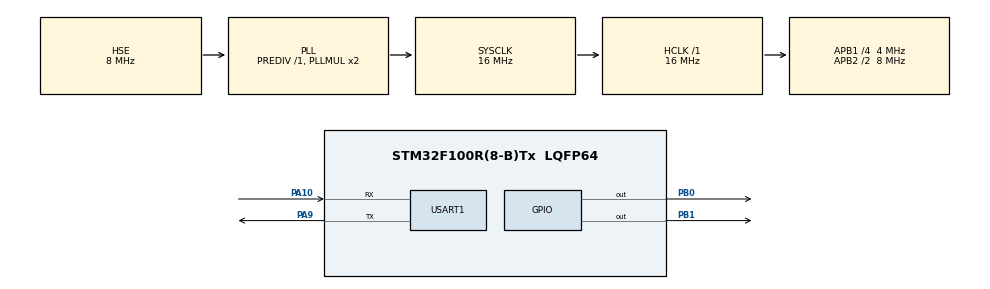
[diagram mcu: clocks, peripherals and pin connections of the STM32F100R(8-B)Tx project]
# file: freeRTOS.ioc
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FREERTOS.Tasks01=defaultTask,0,128,StartDefaultTask,Default
FREERTOS.configTOTAL_HEAP_SIZE=3072
FREERTOS.configUSE_RECURSIVE_MUTEXES=1
Mcu.Family=STM32F1
Mcu.Name=STM32F100R(8-B)Tx
Mcu.Package=LQFP64
NVIC.PriorityGroup=NVIC_PRIORITYGROUP_4
PA10.Mode=Asynchronous
PA10.Signal=USART1_RX
PA9.Mode=Asynchronous
PA9.Signal=USART1_TX
PB0.GPIO_ModeDefaultOutputPP=GPIO_MODE_OUTPUT_PP
PB0.GPIO_Speed=GPIO_SPEED_FREQ_HIGH
PB0.Signal=GPIO_Output
PB1.GPIO_ModeDefaultOutputPP=GPIO_MODE_OUTPUT_PP
PB1.GPIO_Speed=GPIO_SPEED_FREQ_HIGH
PB1.Signal=GPIO_Output
PD0-OSC_IN.Mode=HSE-External-Oscillator
PD0-OSC_IN.Signal=RCC_OSC_IN
PD1-OSC_OUT.Mode=HSE-External-Oscillator
PD1-OSC_OUT.Signal=RCC_OSC_OUT
ProjectManager.HeapSize=0x200
ProjectManager.StackSize=0x400
ProjectManager.TargetToolchain=EWARM
RCC.AHBFreq_Value=16000000
RCC.APB1CLKDivider=RCC_HCLK_DIV4
RCC.APB1Freq_Value=4000000
RCC.APB1TimFreq_Value=8000000
RCC.APB2CLKDivider=RCC_HCLK_DIV2
RCC.APB2Freq_Value=8000000
RCC.APB2TimFreq_Value=16000000
RCC.HCLKFreq_Value=16000000
RCC.PLLSource=RCC_PLLSOURCE_HSE
RCC.SYSCLKFreq_VALUE=16000000
RCC.SYSCLKSource=RCC_SYSCLKSOURCE_PLLCLK
VP_FREERTOS_VS_ENABLE.Mode=Enabled
VP_SYS_VS_ND.Mode=No_Debug
board=freeRTOS

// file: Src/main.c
/**
  ******************************************************************************
  * File Name          : main.c
  * Description        : Main program body
  ******************************************************************************
  *
  * COPYRIGHT(c) 2016 STMicroelectronics
  *
  * Redistribution and use in source and binary forms, with or without modification,
  * are permitted provided that the following conditions are met:
  *   1. Redistributions of source code must retain the above copyright notice,
  *      this list of conditions and the following disclaimer.
  *   2. Redistributions in binary form must reproduce the above copyright notice,
  *      this list of conditions and the following disclaimer in the documentation
  *      and/or other materials provided with the distribution.
  *   3. Neither the name of STMicroelectronics nor the names of its contributors
  *      may be used to endorse or promote products derived from this software
  *      without specific prior written permission.
  *
  * THIS SOFTWARE IS PROVIDED BY THE COPYRIGHT HOLDERS AND CONTRIBUTORS "AS IS"
  * AND ANY EXPRESS OR IMPLIED WARRANTIES, INCLUDING, BUT NOT LIMITED TO, THE
  * IMPLIED WARRANTIES OF MERCHANTABILITY AND FITNESS FOR A PARTICULAR PURPOSE ARE
  * DISCLAIMED. IN NO EVENT SHALL THE COPYRIGHT HOLDER OR CONTRIBUTORS BE LIABLE
  * FOR ANY DIRECT, INDIRECT, INCIDENTAL, SPECIAL, EXEMPLARY, OR CONSEQUENTIAL
  * DAMAGES (INCLUDING, BUT NOT LIMITED TO, PROCUREMENT OF SUBSTITUTE GOODS OR
  * SERVICES; LOSS OF USE, DATA, OR PROFITS; OR BUSINESS INTERRUPTION) HOWEVER
  * CAUSED AND ON ANY THEORY OF LIABILITY, WHETHER IN CONTRACT, STRICT LIABILITY,
  * OR TORT (INCLUDING NEGLIGENCE OR OTHERWISE) ARISING IN ANY WAY OUT OF THE USE
  * OF THIS SOFTWARE, EVEN IF ADVISED OF THE POSSIBILITY OF SUCH DAMAGE.
  *
  ******************************************************************************
  */
#include "stm32f1xx_hal.h"
#include "cmsis_os.h"

UART_HandleTypeDef huart1;

osThreadId defaultTaskHandle;

//uint8_t Uart1_RxFlag;

//uint8_t Rx_data[5] = {0xAA, 0x55, 0x09, 0x1C, 0xEE};
uint8_t Rx_Buffer[5];
//uint8_t Transfer_cplt, Rx_indx;

/* USER CODE BEGIN PV */
/* Private variables ---------------------------------------------------------*/

/* USER CODE END PV */

void SystemClock_Config(void);
void Error_Handler(void);
static void MX_GPIO_Init(void);
static void MX_USART1_UART_Init(void);
void StartDefaultTask(void const * argument);

/* USER CODE BEGIN PFP */
/* Private function prototypes -----------------------------------------------*/
/*void HAL_UART_RxCpltCallback(UART_HandleTypeDef *huart)
{
  if(huart->Instance == USART1)
  {
    HAL_GPIO_TogglePin(GPIOB,GPIO_PIN_0);
    Uart1_RxFlag = 1;
  }
}*/

/* USER CODE END PFP */

int main(void)
{

  /* MCU Configuration----------------------------------------------------------*/

  /* Reset of all peripherals, Initializes the Flash interface and the Systick. */
  HAL_Init();

  /* Configure the system clock */
  SystemClock_Config();

  /* Initialize all configured peripherals */
  MX_GPIO_Init();
  MX_USART1_UART_Init();

  /* USER CODE BEGIN 2 */
  //HAL_UART_Receive_IT(&huart1, Rx_data, 5);

  /* USER CODE END 2 */

  /* Create the thread(s) */
  /* definition and creation of defaultTask */
  osThreadDef(defaultTask, StartDefaultTask, osPriorityNormal, 0, 128);
  defaultTaskHandle = osThreadCreate(osThread(defaultTask), NULL);

  //xTaskCreate(StartDefaultTask, "UartTask", configMINIMAL_STACK_SIZE, NULL, tskIDLE_PRIORITY+3, NULL);

  /* Start scheduler */
  osKernelStart();

  /* We should never get here as control is now taken by the scheduler */

  /* Infinite loop */
  /* USER CODE BEGIN WHILE */
  //while (1)
  //{
  /* USER CODE END WHILE */

  /* USER CODE BEGIN 3 */

  //}
  /* USER CODE END 3 */

}

/** System Clock Configuration
*/
void SystemClock_Config(void)
{

  RCC_OscInitTypeDef RCC_OscInitStruct;
  RCC_ClkInitTypeDef RCC_ClkInitStruct;

  RCC_OscInitStruct.OscillatorType = RCC_OSCILLATORTYPE_HSE;
  RCC_OscInitStruct.HSEState = RCC_HSE_ON;
  RCC_OscInitStruct.HSEPredivValue = RCC_HSE_PREDIV_DIV1;
  RCC_OscInitStruct.PLL.PLLState = RCC_PLL_ON;
  RCC_OscInitStruct.PLL.PLLSource = RCC_PLLSOURCE_HSE;
  RCC_OscInitStruct.PLL.PLLMUL = RCC_PLL_MUL2;
  if (HAL_RCC_OscConfig(&RCC_OscInitStruct) != HAL_OK)
  {
    Error_Handler();
  }

  RCC_ClkInitStruct.ClockType = RCC_CLOCKTYPE_HCLK|RCC_CLOCKTYPE_SYSCLK
                              |RCC_CLOCKTYPE_PCLK1|RCC_CLOCKTYPE_PCLK2;
  RCC_ClkInitStruct.SYSCLKSource = RCC_SYSCLKSOURCE_PLLCLK;
  RCC_ClkInitStruct.AHBCLKDivider = RCC_SYSCLK_DIV1;
  RCC_ClkInitStruct.APB1CLKDivider = RCC_HCLK_DIV4;
  RCC_ClkInitStruct.APB2CLKDivider = RCC_HCLK_DIV2;
  if (HAL_RCC_ClockConfig(&RCC_ClkInitStruct, FLASH_LATENCY_0) != HAL_OK)
  {
    Error_Handler();
  }

  HAL_SYSTICK_Config(HAL_RCC_GetHCLKFreq()/1000);

  HAL_SYSTICK_CLKSourceConfig(SYSTICK_CLKSOURCE_HCLK);

  /* SysTick_IRQn interrupt configuration */
  HAL_NVIC_SetPriority(SysTick_IRQn, 15, 0);
}

/* USART1 init function */
static void MX_USART1_UART_Init(void)
{

  huart1.Instance = USART1;
  huart1.Init.BaudRate = 115200;
  huart1.Init.WordLength = UART_WORDLENGTH_8B;
  huart1.Init.StopBits = UART_STOPBITS_1;
  huart1.Init.Parity = UART_PARITY_NONE;
  huart1.Init.Mode = UART_MODE_TX_RX;
  huart1.Init.HwFlowCtl = UART_HWCONTROL_NONE;
  huart1.Init.OverSampling = UART_OVERSAMPLING_16;
  if (HAL_UART_Init(&huart1) != HAL_OK)
  {
    Error_Handler();
  }

}

/** Configure pins as
        * Analog
        * Input
        * Output
        * EVENT_OUT
        * EXTI
*/
static void MX_GPIO_Init(void)
{

  GPIO_InitTypeDef GPIO_InitStruct;

  /* GPIO Ports Clock Enable */
  __HAL_RCC_GPIOD_CLK_ENABLE();
  __HAL_RCC_GPIOB_CLK_ENABLE();
  __HAL_RCC_GPIOA_CLK_ENABLE();

  /*Configure GPIO pin Output Level */
  HAL_GPIO_WritePin(GPIOB, GPIO_PIN_0|GPIO_PIN_1, GPIO_PIN_RESET);

  /*Configure GPIO pins : PB0 PB1 */
  GPIO_InitStruct.Pin = GPIO_PIN_0|GPIO_PIN_1;
  GPIO_InitStruct.Mode = GPIO_MODE_OUTPUT_PP;
  GPIO_InitStruct.Speed = GPIO_SPEED_FREQ_HIGH;
  HAL_GPIO_Init(GPIOB, &GPIO_InitStruct);

  //PA9 = USART1.TX => Alternative Function Output
  GPIO_InitStruct.Mode = GPIO_MODE_AF_PP;
  GPIO_InitStruct.Pin = GPIO_PIN_9;
  GPIO_InitStruct.Speed = GPIO_SPEED_FREQ_HIGH;
  HAL_GPIO_Init(GPIOA, &GPIO_InitStruct);

  //PA10 = USART1.RX => Input
  GPIO_InitStruct.Mode = GPIO_MODE_AF_PP;
  GPIO_InitStruct.Pin = GPIO_PIN_10;
  GPIO_InitStruct.Speed = GPIO_SPEED_FREQ_HIGH;
  HAL_GPIO_Init(GPIOA, &GPIO_InitStruct);

}

/* StartDefaultTask function */
void StartDefaultTask(void const * argument)
{
  uint8_t i;
  /* USER CODE BEGIN 5 */
  /* Infinite loop */
  for(;;)
  {
    HAL_UART_Receive_IT(&huart1, Rx_Buffer, 5);
    if(Rx_Buffer[5] != 0xEE){
      for(i=0; i<5; i++)
     Rx_Buffer[i] = 0;
  }
  else{
    switch(Rx_Buffer[3]){
      case 0xB0: if(Rx_Buffer[4] & 0x01 == 0)
                    HAL_GPIO_WritePin(GPIOB, GPIO_PIN_0, GPIO_PIN_RESET);
                 else HAL_GPIO_WritePin(GPIOB, GPIO_PIN_0, GPIO_PIN_SET);
                 break;
      case 0xB1: if(Rx_Buffer[4] & 0x01 == 0)
                    HAL_GPIO_WritePin(GPIOB, GPIO_PIN_1, GPIO_PIN_RESET);
                 else HAL_GPIO_WritePin(GPIOB, GPIO_PIN_1, GPIO_PIN_SET);
                 break;
      default: for(i=0; i<5; i++)
               Rx_Buffer[i] = 0;
               break;
    }
  }
    osDelay(1);
  }
  /* USER CODE END 5 */
}

void Error_Handler(void)
{
  while(1)
  {
  }
}

/************************ (C) COPYRIGHT STMicroelectronics *****END OF FILE****/
